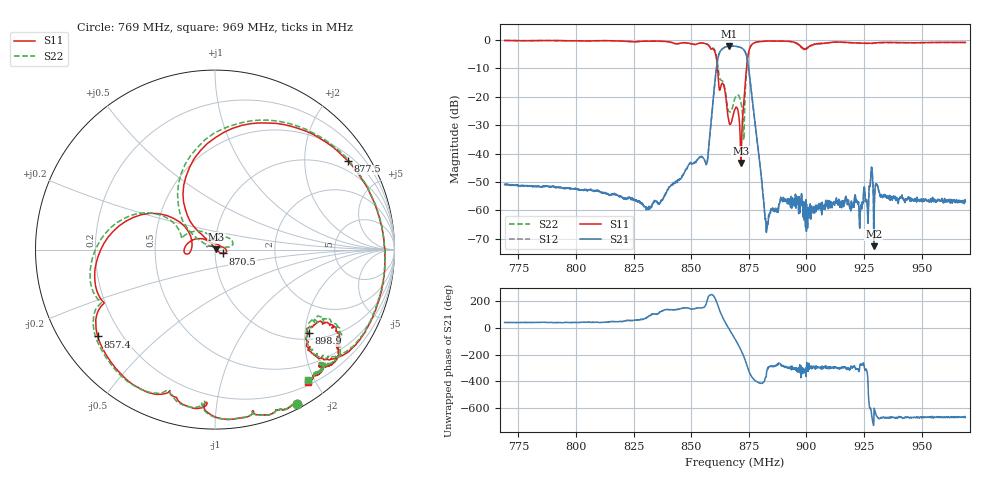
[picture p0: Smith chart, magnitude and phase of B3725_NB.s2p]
! Matrix data file written by TouchstoneData, EPCOS AG
! FILENAME: "LT97B_NB.s2p"
! INFO: nport=2, nfreq=1601
! port | pin | signal
!  1  |  2  |  IN
!  2  |  5  |  OUT
# MHZ S RI R 50
! freq  reS11 imS11  reS21 imS21  reS12 imS12  reS22 imS22
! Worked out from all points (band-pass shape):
!   1601 points, 769 MHz to 969 MHz, reference 50 ohm
!   highest |S21| = -2.15 dB at 866.5 MHz (marker M1); lowest = -72.6 dB at 929.2 MHz (marker M2)
!   |S21| within 3 dB of the highest: 862 MHz to 873.8 MHz (11.82 MHz wide, 1.36 % of centre)
!   lowest |S11| = -43.3 dB at 871.5 MHz (marker M3), VSWR 1.01, Z = 50.7 + j0.0611 ohm
!   |S11| at or under -10 dB: 861.4 MHz to 874 MHz (12.59 MHz wide, 1.45 % of centre)
!   |S22| runs from -35.3 to -0.2 dB; largest |S21 - S12| = 0.002
!   S11 on the Smith chart (normalised r, x): 769 MHz: 0.05, -1.66; 857.4 MHz: 0.11, -0.33; 870.5 MHz: 1.10, -0.05; 877.5 MHz: 0.67, +3.19; 898.9 MHz: 1.15, -2.09; 969 MHz: 0.24, -1.90
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769  0.456 -0.8622  0.00217 0.00186  0.00217 0.00186  0.459 -0.8582
802.375  0.3479 -0.8942  0.00169 0.00155  0.00167 0.00151  0.3486 -0.8934
835.75  0.0912 -0.9455  -0.000394 0.00127  -0.00041 0.0013  0.0819 -0.9458
857.375  -0.6538 -0.4836  -0.00651 -0.00779  -0.00647 -0.00773  -0.6696 -0.4724
861.625  -0.1954 0.153  -0.4647 0.1248  -0.4645 0.1245  -0.2788 0.1824
863.75  -0.1692 0.0086  0.1843 0.681  0.1844 0.6801  -0.1635 0.0835
866.5  -0.00278 0.0344  0.7653 -0.1533  0.7651 -0.1534  -0.0127 0.0529
869  0.0606 0.00156  0.1009 -0.7657  0.1008 -0.7656  0.0636 0.0693
870.5  0.0462 -0.0216  -0.4656 -0.5947  -0.4662 -0.5945  0.1 0.0354
871.5  0.00683 0.000603  -0.695 -0.2314  -0.6945 -0.2309  0.0809 0.0145
872.5  -0.0287 0.0456  -0.6511 0.2314  -0.6506 0.2314  0.0304 0.0117
873.625  -0.1394 0.1586  -0.1874 0.5531  -0.1865 0.5519  -0.1342 0.0947
875  0.00232 0.624  0.23 0.1845  0.2297 0.1845  -0.0549 0.6129
877.5  0.7426 0.4919  0.0346 -0.0197  0.0346 -0.0197  0.7227 0.522
882.75  0.9442 -0.1252  0.000381 0.000276  0.000359 0.000277  0.9457 -0.0977
889.5  0.8347 -0.4631  0.000391 0.00149  0.000424 0.00153  0.8414 -0.445
898.875  0.5213 -0.4659  0.000462 0.000555  0.000481 0.000424  0.5151 -0.438
902.375  0.6735 -0.4499  0.00063 0.000855  0.000642 0.000799  0.6833 -0.4355
923.625  0.5863 -0.6536  -1.3e-05 0.0012  2.81e-05 0.00117  0.5929 -0.6425
929.25  0.6005 -0.6507  0.000234 8.52e-06  0.000245 -2.48e-05  0.601 -0.6369
935.75  0.5837 -0.6838  0.00105 0.00119  0.00104 0.00121  0.5897 -0.6787
969  0.5186 -0.7363  0.000905 0.00111  0.000935 0.00111  0.5186 -0.7286
